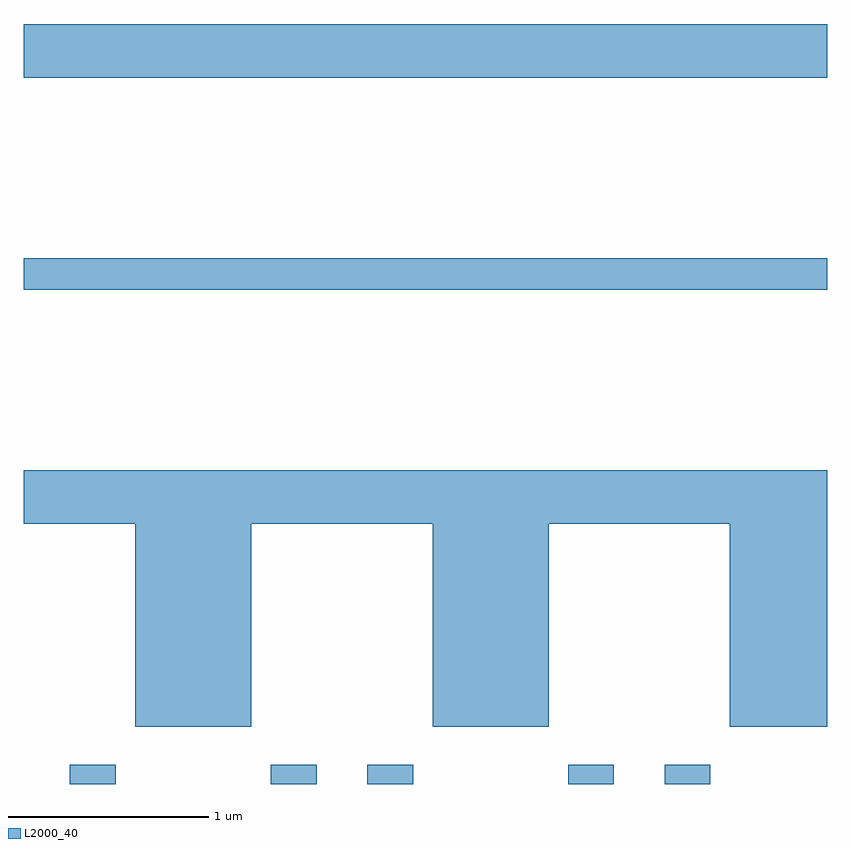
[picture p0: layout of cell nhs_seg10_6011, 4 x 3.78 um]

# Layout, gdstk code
import gdstk
lib = gdstk.Library(unit=1e-6, precision=1e-09)
def R(c, l, rs):  # rectangles x0, y0, x1, y1
    for r in rs: c.add(gdstk.rectangle(r[:2], r[2:], *l))
def P(c, l, *ps):  # polygons
    for p in ps: c.add(gdstk.Polygon(p, *l))
L2000_40 = (2000, 40)

nhs_seg10_6011 = lib.new_cell('nhs_seg10_6011')
R(nhs_seg10_6011, L2000_40, [(361.841,2212.522,362.069,2212.619), (362.841,2212.522,363.069,2212.619), (363.321,2212.522,363.549,2212.619), (364.321,2212.522,364.549,2212.619), (364.801,2212.522,365.029,2212.619), (361.611,2214.981,365.611,2215.139), (361.611,2216.036,365.611,2216.304)])
P(nhs_seg10_6011, L2000_40, [(362.744,2213.816),(363.646,2213.816),(363.646,2212.806),(364.224,2212.806),(364.224,2213.816),(365.126,2213.816),(365.126,2212.806),(365.611,2212.806),(365.611,2214.084),(361.611,2214.084),(361.611,2213.816),(362.166,2213.816),(362.166,2212.806),(362.744,2212.806)])

lib.write_gds('nhs_seg10_6011.gds')
